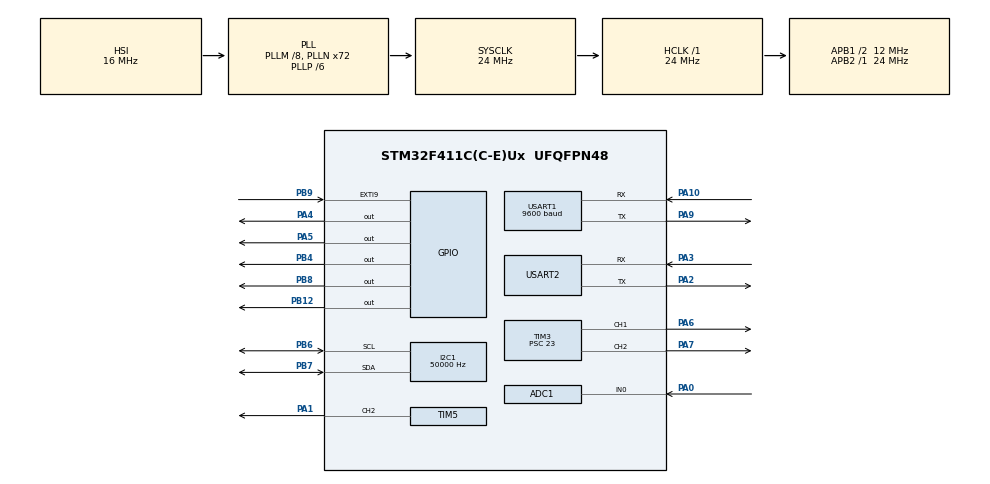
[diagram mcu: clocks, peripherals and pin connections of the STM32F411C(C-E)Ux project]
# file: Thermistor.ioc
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ADC1.Channel-3\#ChannelRegularConversion=ADC_CHANNEL_0
ADC1.NbrOfConversion=1
ADC1.NbrOfConversionFlag=1
ADC1.Rank-3\#ChannelRegularConversion=1
ADC1.SamplingTime-3\#ChannelRegularConversion=ADC_SAMPLETIME_84CYCLES
ADC1.master=1
FREERTOS.Tasks01=defaultTask,0,512,StartDefaultTask,Default,NULL,Dynamic,NULL,NULL
FREERTOS.configTOTAL_HEAP_SIZE=16384
I2C1.ClockSpeed=50000
I2C1.I2C_Mode=I2C_Standard
Mcu.Family=STM32F4
Mcu.Name=STM32F411C(C-E)Ux
Mcu.Package=UFQFPN48
NVIC.EXTI9_5_IRQn=true\:5\:0\:false\:false\:true\:true\:true\:true\:true
NVIC.PriorityGroup=NVIC_PRIORITYGROUP_4
NVIC.TIM1_TRG_COM_TIM11_IRQn=true\:5\:0\:false\:false\:true\:false\:false\:true\:true
NVIC.TIM2_IRQn=true\:5\:0\:false\:false\:true\:true\:true\:true\:true
NVIC.TimeBase=TIM1_TRG_COM_TIM11_IRQn
NVIC.TimeBaseIP=TIM11
NVIC.USART1_IRQn=true\:6\:0\:true\:false\:true\:true\:true\:true\:true
NVIC.USART2_IRQn=true\:5\:0\:false\:false\:true\:true\:true\:true\:true
PA0-WKUP.Signal=ADCx_IN0
PA1.Signal=S_TIM5_CH2
PA10.Mode=Asynchronous
PA10.Signal=USART1_RX
PA2.Mode=Asynchronous
PA2.Signal=USART2_TX
PA3.Mode=Asynchronous
PA3.Signal=USART2_RX
PA4.Signal=GPIO_Output
PA5.Signal=GPIO_Output
PA6.Signal=S_TIM3_CH1
PA7.Signal=S_TIM3_CH2
PA9.Mode=Asynchronous
PA9.Signal=USART1_TX
PB12.GPIO_Speed=GPIO_SPEED_FREQ_HIGH
PB12.Signal=GPIO_Output
PB4.Signal=GPIO_Output
PB6.GPIO_Mode=GPIO_MODE_AF_OD
PB6.GPIO_Pu=GPIO_PULLUP
PB6.Mode=I2C
PB6.Signal=I2C1_SCL
PB7.GPIO_Pu=GPIO_PULLUP
PB7.Mode=I2C
PB7.Signal=I2C1_SDA
PB8.GPIO_Speed=GPIO_SPEED_FREQ_HIGH
PB8.Signal=GPIO_Output
PB9.Signal=GPXTI9
PH0\ -\ OSC_IN.Mode=HSE-External-Oscillator
PH0\ -\ OSC_IN.Signal=RCC_OSC_IN
PH1\ -\ OSC_OUT.Mode=HSE-External-Oscillator
PH1\ -\ OSC_OUT.Signal=RCC_OSC_OUT
ProjectManager.HeapSize=0x200
ProjectManager.StackSize=0x400
ProjectManager.TargetToolchain=STM32CubeIDE
RCC.48MHZClocksFreq_Value=36000000
RCC.AHBFreq_Value=24000000
RCC.APB1CLKDivider=RCC_HCLK_DIV2
RCC.APB1Freq_Value=12000000
RCC.APB1TimFreq_Value=24000000
RCC.APB2Freq_Value=24000000
RCC.APB2TimFreq_Value=24000000
RCC.CortexFreq_Value=24000000
RCC.HCLKFreq_Value=24000000
RCC.HSE_VALUE=25000000
RCC.HSI_VALUE=16000000
RCC.LSE_VALUE=32768
RCC.PLLM=8
RCC.PLLN=72
RCC.PLLP=RCC_PLLP_DIV6
RCC.SYSCLKFreq_VALUE=24000000
RCC.SYSCLKSource=RCC_SYSCLKSOURCE_PLLCLK
RCC.VCOOutputFreq_Value=144000000
SH.ADCx_IN0.0=ADC1_IN0,IN0
SH.S_TIM3_CH1.0=TIM3_CH1,PWM Generation1 CH1
SH.S_TIM3_CH2.0=TIM3_CH2,PWM Generation2 CH2
SH.S_TIM5_CH2.0=TIM5_CH2,PWM Generation2 CH2
TIM2.AutoReloadPreload=TIM_AUTORELOAD_PRELOAD_ENABLE
TIM2.Period=999
TIM2.Prescaler=23999
TIM2.TIM_MasterOutputTrigger=TIM_TRGO_UPDATE
TIM3.AutoReloadPreload=TIM_AUTORELOAD_PRELOAD_ENABLE
TIM3.Channel-PWM\ Generation1\ CH1=TIM_CHANNEL_1
TIM3.Channel-PWM\ Generation2\ CH2=TIM_CHANNEL_2
TIM3.Period=999
TIM3.Prescaler=23
TIM3.Pulse-PWM\ Generation1\ CH1=0
TIM5.Channel-PWM\ Generation2\ CH2=TIM_CHANNEL_2
TIM5.Period=999
USART1.BaudRate=9600
USART1.Mode=MODE_RX
USART1.VirtualMode=VM_ASYNC
USART2.VirtualMode=VM_ASYNC
VP_FREERTOS_VS_CMSIS_V1.Mode=CMSIS_V1
VP_SYS_VS_tim11.Mode=TIM11
VP_TIM2_VS_ClockSourceINT.Mode=Internal
VP_TIM3_VS_ClockSourceINT.Mode=Internal
VP_TIM5_VS_ClockSourceINT.Mode=Internal
board=custom

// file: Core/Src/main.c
/* USER CODE BEGIN Header */
/**
  ******************************************************************************
  * @file           : main.c
  * @brief          : Chip-cooling thermal controller - STM32F411CEU6 @ 24 MHz
  *
  * Peripheral usage:
  *   ADC1   – PA0 (IN0), 12-bit, polled, oversample x128 (NTC divider)
  *   TIM2   – 1 Hz control tick -> ThermalApp_TickISR() -> xCtrlQueue
  *   TIM3   – CH1 heater PWM @ 1 kHz
  *   TIM5   – CH2 fan PWM @ 24 kHz (4-wire fan control line)
  *   TIM11  – HAL 1 ms timebase (SysTick belongs to FreeRTOS)
  *   I2C1   – SSD1306 OLED @ 400 kHz
  *   USART2 – retained from CubeMX project; not used by thermal app
  *
  * NOTE: TIM2/TIM11 dispatch lives inside the CubeMX-generated
  *       HAL_TIM_PeriodElapsedCallback below, in USER CODE Callback 1 —
  *       do NOT re-add a second definition in USER CODE 4 (regen-proof).
  ******************************************************************************
  */
/* USER CODE END Header */
#include "main.h"
#include "cmsis_os.h"

/* USER CODE BEGIN Includes */
#include "ssd1306.h"
#include "thermal_app.h"
#include "cyc.h"
#include "FreeRTOS.h"
/* USER CODE END Includes */

ADC_HandleTypeDef hadc1;

I2C_HandleTypeDef hi2c1;

TIM_HandleTypeDef htim2;
TIM_HandleTypeDef htim3;
TIM_HandleTypeDef htim5;

UART_HandleTypeDef huart1;
UART_HandleTypeDef huart2;

osThreadId defaultTaskHandle;
/* USER CODE BEGIN PV */
extern volatile Profiler g_prof;

#define DBG_RING_SZ 256
volatile uint8_t  dbg_ring[DBG_RING_SZ];
volatile uint16_t dbg_head = 0;        /* watch these two in Live     */
uint8_t           dbg_rx_byte;         /* Expressions / Live Watch
/* USER CODE END PV */

void SystemClock_Config(void);
static void MX_GPIO_Init(void);
static void MX_USART2_UART_Init(void);
static void MX_I2C1_Init(void);
static void MX_ADC1_Init(void);
static void MX_TIM2_Init(void);
static void MX_TIM3_Init(void);
static void MX_TIM5_Init(void);
static void MX_USART1_UART_Init(void);
void StartDefaultTask(void const * argument);

/* USER CODE BEGIN 0 */

volatile uint32_t g_tach_pulses = 0;
/* USER CODE END 0 */

int main(void)
{

  /* MCU Configuration--------------------------------------------------------*/

  /* Reset of all peripherals, Initializes the Flash interface and the Systick. */
  HAL_Init();

  /* Configure the system clock */
  SystemClock_Config();

  /* Initialize all configured peripherals */
  MX_GPIO_Init();
  MX_USART2_UART_Init();
  MX_I2C1_Init();
  MX_ADC1_Init();
  MX_TIM2_Init();
  MX_TIM3_Init();
  MX_TIM5_Init();
  MX_USART1_UART_Init();
  HAL_UART_Receive_IT(&huart1, &dbg_rx_byte, 1);
  /* USER CODE BEGIN 2 */

  ssd1306_init();     /* Initialise OLED driver                          */
  ThermalApp_Init();  /* Start PWM, zero buffers, display splash screen  */
  /* USER CODE END 2 */

  /* Create the thread(s) */
  /* definition and creation of defaultTask */
  osThreadDef(defaultTask, StartDefaultTask, osPriorityNormal, 0, 512);
  defaultTaskHandle = osThreadCreate(osThread(defaultTask), NULL);

  /* USER CODE BEGIN RTOS_THREADS */

  ThermalApp_StartTasks();
  /* USER CODE END RTOS_THREADS */

  /* Start scheduler */
  osKernelStart();

  /* We should never get here as control is now taken by the scheduler */

  /* Infinite loop */
  while (1)
  {

  }
}

void SystemClock_Config(void)
{
  RCC_OscInitTypeDef RCC_OscInitStruct = {0};
  RCC_ClkInitTypeDef RCC_ClkInitStruct = {0};

  /** Configure the main internal regulator output voltage
  */
  __HAL_RCC_PWR_CLK_ENABLE();
  __HAL_PWR_VOLTAGESCALING_CONFIG(PWR_REGULATOR_VOLTAGE_SCALE1);

  /** Initializes the RCC Oscillators according to the specified parameters
  * in the RCC_OscInitTypeDef structure.
  */
  RCC_OscInitStruct.OscillatorType = RCC_OSCILLATORTYPE_HSI;
  RCC_OscInitStruct.HSIState = RCC_HSI_ON;
  RCC_OscInitStruct.HSICalibrationValue = RCC_HSICALIBRATION_DEFAULT;
  RCC_OscInitStruct.PLL.PLLState = RCC_PLL_ON;
  RCC_OscInitStruct.PLL.PLLSource = RCC_PLLSOURCE_HSI;
  RCC_OscInitStruct.PLL.PLLM = 8;
  RCC_OscInitStruct.PLL.PLLN = 72;
  RCC_OscInitStruct.PLL.PLLP = RCC_PLLP_DIV6;
  RCC_OscInitStruct.PLL.PLLQ = 4;
  if (HAL_RCC_OscConfig(&RCC_OscInitStruct) != HAL_OK)
  {
    Error_Handler();
  }

  /** Initializes the CPU, AHB and APB buses clocks
  */
  RCC_ClkInitStruct.ClockType = RCC_CLOCKTYPE_HCLK|RCC_CLOCKTYPE_SYSCLK
                              |RCC_CLOCKTYPE_PCLK1|RCC_CLOCKTYPE_PCLK2;
  RCC_ClkInitStruct.SYSCLKSource = RCC_SYSCLKSOURCE_PLLCLK;
  RCC_ClkInitStruct.AHBCLKDivider = RCC_SYSCLK_DIV1;
  RCC_ClkInitStruct.APB1CLKDivider = RCC_HCLK_DIV2;
  RCC_ClkInitStruct.APB2CLKDivider = RCC_HCLK_DIV1;

  if (HAL_RCC_ClockConfig(&RCC_ClkInitStruct, FLASH_LATENCY_0) != HAL_OK)
  {
    Error_Handler();
  }
}

static void MX_ADC1_Init(void)
{

  ADC_ChannelConfTypeDef sConfig = {0};

  /** Configure the global features of the ADC (Clock, Resolution, Data Alignment and number of conversion)
  */
  hadc1.Instance = ADC1;
  hadc1.Init.ClockPrescaler = ADC_CLOCK_SYNC_PCLK_DIV2;
  hadc1.Init.Resolution = ADC_RESOLUTION_12B;
  hadc1.Init.ScanConvMode = DISABLE;
  hadc1.Init.ContinuousConvMode = DISABLE;
  hadc1.Init.DiscontinuousConvMode = DISABLE;
  hadc1.Init.ExternalTrigConvEdge = ADC_EXTERNALTRIGCONVEDGE_NONE;
  hadc1.Init.ExternalTrigConv = ADC_SOFTWARE_START;
  hadc1.Init.DataAlign = ADC_DATAALIGN_RIGHT;
  hadc1.Init.NbrOfConversion = 1;
  hadc1.Init.DMAContinuousRequests = DISABLE;
  hadc1.Init.EOCSelection = ADC_EOC_SINGLE_CONV;
  if (HAL_ADC_Init(&hadc1) != HAL_OK)
  {
    Error_Handler();
  }

  /** Configure for the selected ADC regular channel its corresponding rank in the sequencer and its sample time.
  */
  sConfig.Channel = ADC_CHANNEL_0;
  sConfig.Rank = 1;
  sConfig.SamplingTime = ADC_SAMPLETIME_84CYCLES;
  if (HAL_ADC_ConfigChannel(&hadc1, &sConfig) != HAL_OK)
  {
    Error_Handler();
  }

}

static void MX_I2C1_Init(void)
{

  hi2c1.Instance = I2C1;
  hi2c1.Init.ClockSpeed = 50000;
  hi2c1.Init.DutyCycle = I2C_DUTYCYCLE_2;
  hi2c1.Init.OwnAddress1 = 0;
  hi2c1.Init.AddressingMode = I2C_ADDRESSINGMODE_7BIT;
  hi2c1.Init.DualAddressMode = I2C_DUALADDRESS_DISABLE;
  hi2c1.Init.OwnAddress2 = 0;
  hi2c1.Init.GeneralCallMode = I2C_GENERALCALL_DISABLE;
  hi2c1.Init.NoStretchMode = I2C_NOSTRETCH_DISABLE;
  if (HAL_I2C_Init(&hi2c1) != HAL_OK)
  {
    Error_Handler();
  }

}

static void MX_TIM2_Init(void)
{

  TIM_ClockConfigTypeDef sClockSourceConfig = {0};
  TIM_MasterConfigTypeDef sMasterConfig = {0};

  htim2.Instance = TIM2;
  htim2.Init.Prescaler = 23999;
  htim2.Init.CounterMode = TIM_COUNTERMODE_UP;
  htim2.Init.Period = 999;
  htim2.Init.ClockDivision = TIM_CLOCKDIVISION_DIV1;
  htim2.Init.AutoReloadPreload = TIM_AUTORELOAD_PRELOAD_ENABLE;
  if (HAL_TIM_Base_Init(&htim2) != HAL_OK)
  {
    Error_Handler();
  }
  sClockSourceConfig.ClockSource = TIM_CLOCKSOURCE_INTERNAL;
  if (HAL_TIM_ConfigClockSource(&htim2, &sClockSourceConfig) != HAL_OK)
  {
    Error_Handler();
  }
  sMasterConfig.MasterOutputTrigger = TIM_TRGO_UPDATE;
  sMasterConfig.MasterSlaveMode = TIM_MASTERSLAVEMODE_DISABLE;
  if (HAL_TIMEx_MasterConfigSynchronization(&htim2, &sMasterConfig) != HAL_OK)
  {
    Error_Handler();
  }

}

static void MX_TIM3_Init(void)
{

  TIM_ClockConfigTypeDef sClockSourceConfig = {0};
  TIM_MasterConfigTypeDef sMasterConfig = {0};
  TIM_OC_InitTypeDef sConfigOC = {0};

  htim3.Instance = TIM3;
  htim3.Init.Prescaler = 23;
  htim3.Init.CounterMode = TIM_COUNTERMODE_UP;
  htim3.Init.Period = 999;
  htim3.Init.ClockDivision = TIM_CLOCKDIVISION_DIV1;
  htim3.Init.AutoReloadPreload = TIM_AUTORELOAD_PRELOAD_ENABLE;
  if (HAL_TIM_Base_Init(&htim3) != HAL_OK)
  {
    Error_Handler();
  }
  sClockSourceConfig.ClockSource = TIM_CLOCKSOURCE_INTERNAL;
  if (HAL_TIM_ConfigClockSource(&htim3, &sClockSourceConfig) != HAL_OK)
  {
    Error_Handler();
  }
  if (HAL_TIM_PWM_Init(&htim3) != HAL_OK)
  {
    Error_Handler();
  }
  sMasterConfig.MasterOutputTrigger = TIM_TRGO_RESET;
  sMasterConfig.MasterSlaveMode = TIM_MASTERSLAVEMODE_DISABLE;
  if (HAL_TIMEx_MasterConfigSynchronization(&htim3, &sMasterConfig) != HAL_OK)
  {
    Error_Handler();
  }
  sConfigOC.OCMode = TIM_OCMODE_PWM1;
  sConfigOC.Pulse = 0;
  sConfigOC.OCPolarity = TIM_OCPOLARITY_HIGH;
  sConfigOC.OCFastMode = TIM_OCFAST_DISABLE;
  if (HAL_TIM_PWM_ConfigChannel(&htim3, &sConfigOC, TIM_CHANNEL_1) != HAL_OK)
  {
    Error_Handler();
  }
  if (HAL_TIM_PWM_ConfigChannel(&htim3, &sConfigOC, TIM_CHANNEL_2) != HAL_OK)
  {
    Error_Handler();
  }
  HAL_TIM_MspPostInit(&htim3);

}

static void MX_TIM5_Init(void)
{

  TIM_ClockConfigTypeDef sClockSourceConfig = {0};
  TIM_MasterConfigTypeDef sMasterConfig = {0};
  TIM_OC_InitTypeDef sConfigOC = {0};

  htim5.Instance = TIM5;
  htim5.Init.Prescaler = 0;
  htim5.Init.CounterMode = TIM_COUNTERMODE_UP;
  htim5.Init.Period = 999;
  htim5.Init.ClockDivision = TIM_CLOCKDIVISION_DIV1;
  htim5.Init.AutoReloadPreload = TIM_AUTORELOAD_PRELOAD_DISABLE;
  if (HAL_TIM_Base_Init(&htim5) != HAL_OK)
  {
    Error_Handler();
  }
  sClockSourceConfig.ClockSource = TIM_CLOCKSOURCE_INTERNAL;
  if (HAL_TIM_ConfigClockSource(&htim5, &sClockSourceConfig) != HAL_OK)
  {
    Error_Handler();
  }
  if (HAL_TIM_PWM_Init(&htim5) != HAL_OK)
  {
    Error_Handler();
  }
  sMasterConfig.MasterOutputTrigger = TIM_TRGO_RESET;
  sMasterConfig.MasterSlaveMode = TIM_MASTERSLAVEMODE_DISABLE;
  if (HAL_TIMEx_MasterConfigSynchronization(&htim5, &sMasterConfig) != HAL_OK)
  {
    Error_Handler();
  }
  sConfigOC.OCMode = TIM_OCMODE_PWM1;
  sConfigOC.Pulse = 0;
  sConfigOC.OCPolarity = TIM_OCPOLARITY_HIGH;
  sConfigOC.OCFastMode = TIM_OCFAST_DISABLE;
  if (HAL_TIM_PWM_ConfigChannel(&htim5, &sConfigOC, TIM_CHANNEL_2) != HAL_OK)
  {
    Error_Handler();
  }
  HAL_TIM_MspPostInit(&htim5);

}

static void MX_USART1_UART_Init(void)
{

  huart1.Instance = USART1;
  huart1.Init.BaudRate = 9600;
  huart1.Init.WordLength = UART_WORDLENGTH_8B;
  huart1.Init.StopBits = UART_STOPBITS_1;
  huart1.Init.Parity = UART_PARITY_NONE;
  huart1.Init.Mode = UART_MODE_RX;
  huart1.Init.HwFlowCtl = UART_HWCONTROL_NONE;
  huart1.Init.OverSampling = UART_OVERSAMPLING_16;
  if (HAL_UART_Init(&huart1) != HAL_OK)
  {
    Error_Handler();
  }

}

static void MX_USART2_UART_Init(void)
{

  huart2.Instance = USART2;
  huart2.Init.BaudRate = 115200;
  huart2.Init.WordLength = UART_WORDLENGTH_8B;
  huart2.Init.StopBits = UART_STOPBITS_1;
  huart2.Init.Parity = UART_PARITY_NONE;
  huart2.Init.Mode = UART_MODE_TX_RX;
  huart2.Init.HwFlowCtl = UART_HWCONTROL_NONE;
  huart2.Init.OverSampling = UART_OVERSAMPLING_16;
  if (HAL_UART_Init(&huart2) != HAL_OK)
  {
    Error_Handler();
  }

}

static void MX_GPIO_Init(void)
{
  GPIO_InitTypeDef GPIO_InitStruct = {0};

  /* GPIO Ports Clock Enable */
  __HAL_RCC_GPIOH_CLK_ENABLE();
  __HAL_RCC_GPIOA_CLK_ENABLE();
  __HAL_RCC_GPIOB_CLK_ENABLE();

  /*Configure GPIO pin Output Level */
  HAL_GPIO_WritePin(GPIOA, GPIO_PIN_4|GPIO_PIN_5, GPIO_PIN_RESET);

  /*Configure GPIO pin Output Level */
  HAL_GPIO_WritePin(GPIOB, GPIO_PIN_12|GPIO_PIN_4|GPIO_PIN_8, GPIO_PIN_RESET);

  /*Configure GPIO pins : PA4 PA5 */
  GPIO_InitStruct.Pin = GPIO_PIN_4|GPIO_PIN_5;
  GPIO_InitStruct.Mode = GPIO_MODE_OUTPUT_PP;
  GPIO_InitStruct.Pull = GPIO_NOPULL;
  GPIO_InitStruct.Speed = GPIO_SPEED_FREQ_LOW;
  HAL_GPIO_Init(GPIOA, &GPIO_InitStruct);

  /*Configure GPIO pins : PB12 PB8 */
  GPIO_InitStruct.Pin = GPIO_PIN_12|GPIO_PIN_8;
  GPIO_InitStruct.Mode = GPIO_MODE_OUTPUT_PP;
  GPIO_InitStruct.Pull = GPIO_NOPULL;
  GPIO_InitStruct.Speed = GPIO_SPEED_FREQ_HIGH;
  HAL_GPIO_Init(GPIOB, &GPIO_InitStruct);

  /*Configure GPIO pin : PB4 */
  GPIO_InitStruct.Pin = GPIO_PIN_4;
  GPIO_InitStruct.Mode = GPIO_MODE_OUTPUT_PP;
  GPIO_InitStruct.Pull = GPIO_NOPULL;
  GPIO_InitStruct.Speed = GPIO_SPEED_FREQ_LOW;
  HAL_GPIO_Init(GPIOB, &GPIO_InitStruct);

  /*Configure GPIO pin : PB9 */
  GPIO_InitStruct.Pin = GPIO_PIN_9;
  GPIO_InitStruct.Mode = GPIO_MODE_IT_RISING;
  GPIO_InitStruct.Pull = GPIO_NOPULL;
  HAL_GPIO_Init(GPIOB, &GPIO_InitStruct);

  /* EXTI interrupt init*/
  HAL_NVIC_SetPriority(EXTI9_5_IRQn, 5, 0);
  HAL_NVIC_EnableIRQ(EXTI9_5_IRQn);

}

/* USER CODE BEGIN 4 */
/*
 * NOTE: HAL_TIM_PeriodElapsedCallback intentionally NOT defined here.
 * The single dispatcher lives in the CubeMX-generated callback below;
 * our TIM2 branch is inside its USER CODE Callback 1 section so it
 * survives code regeneration. A second definition here = link error.
 */
void HAL_GPIO_EXTI_Callback(uint16_t GPIO_Pin)
{
    if (GPIO_Pin == GPIO_PIN_9) {
        g_tach_pulses++;
    }
}

void HAL_UART_RxCpltCallback(UART_HandleTypeDef *huart)
{
    if (huart->Instance == USART1) {
        dbg_ring[dbg_head % DBG_RING_SZ] = dbg_rx_byte;
        dbg_head++;
        HAL_UART_Receive_IT(&huart1, &dbg_rx_byte, 1);
    }
}
/* USER CODE END 4 */

void StartDefaultTask(void const * argument)
{
  for(;;)
  {
    osDelay(1);
  }
}

void HAL_TIM_PeriodElapsedCallback(TIM_HandleTypeDef *htim)
{
  if (htim->Instance == TIM11)
  {
    HAL_IncTick();
  }
  /* USER CODE BEGIN Callback 1 */
  else if (htim->Instance == TIM2) {   /* 1 Hz control tick -> queue event */
    ThermalApp_TickISR();
  }
  /* USER CODE END Callback 1 */
}

void Error_Handler(void)
{
  /* USER CODE BEGIN Error_Handler_Debug */
  __disable_irq();
  while (1)
  {
    /* Spin here; attach a debugger and inspect the call stack. */
  }
  /* USER CODE END Error_Handler_Debug */
}
#ifdef USE_FULL_ASSERT
/**
  * @brief  Reports the name of the source file and the source line number
  *         where the assert_param error has occurred.
  * @param  file: pointer to the source file name
  * @param  line: assert_param error line source number
  * @retval None
  */
void assert_failed(uint8_t *file, uint32_t line)
{
  /* USER CODE BEGIN 6 */
  /* Example: printf("Wrong parameter: file %s, line %d\r\n", file, line); */
  (void)file;
  (void)line;
  /* USER CODE END 6 */
}
#endif /* USE_FULL_ASSERT */
